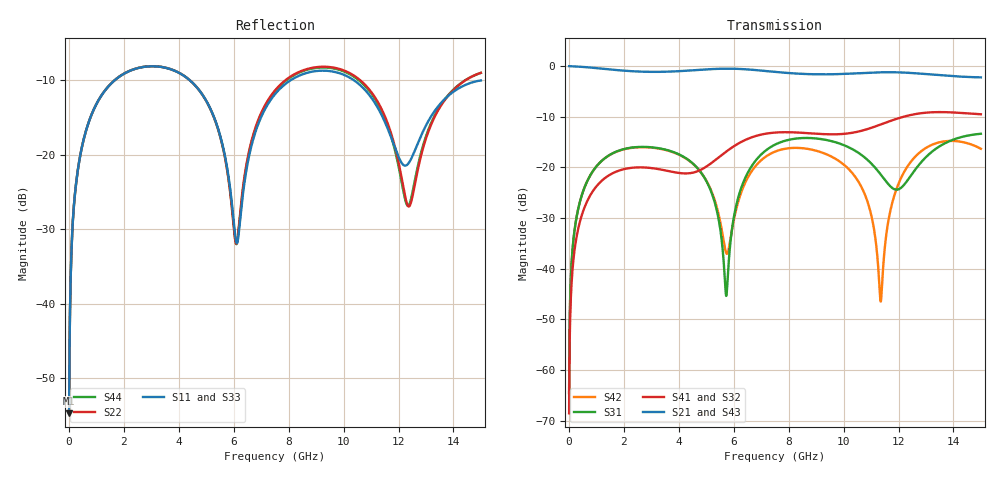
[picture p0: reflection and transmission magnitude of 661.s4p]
! Created with skrf 1.8.0 (http://scikit-rf.org).
# GHz S RI R 50.0
!freq ReS11 ImS11 ReS12 ImS12 ReS13 ImS13
! ReS14 ImS14
! ReS21 ImS21 ReS22 ImS22 ReS23 ImS23
! ReS24 ImS24
! ReS31 ImS31 ReS32 ImS32 ReS33 ImS33
! ReS34 ImS34
! ReS41 ImS41 ReS42 ImS42 ReS43 ImS43
! ReS44 ImS44
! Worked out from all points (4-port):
!   2499 points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, 5 MHz to 15 GHz, reference 50 ohm
!   strongest paths, dB at 5 MHz, 3.476 GHz, 7.19 GHz, 11.1 GHz, 15 GHz:
!     S21: 0.0, -1.1, -1.0, -1.3, -2.2
!     S43: 0.0, -1.1, -1.0, -1.3, -2.2
!     S41: -68.5, -20.6, -13.3, -12.0, -9.5
!     S32: -68.5, -20.6, -13.3, -12.0, -9.5
!     S31: -64.6, -16.4, -16.6, -19.7, -13.4
!     S42: -64.6, -16.5, -17.8, -31.9, -16.3
!   lowest |S11| = -54.7 dB at 5 MHz (marker M1), VSWR 1.00, Z = 50.1 + j0.112 ohm
!   |S11| at or under -10 dB: start of sweep to 1.667 GHz; 4.396 GHz to 8.074 GHz (3.677 GHz wide, 59 % of centre); 10.37 GHz to end of sweep
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0.005  0.00147 0.00112  0.9985 -0.00286  7.35e-05 0.000587  -7.13e-05 -0.000367
       0.9985 -0.00286  0.00147 0.00112  -7.13e-05 -0.000367  7.34e-05 0.000587
       7.35e-05 0.000587  -7.13e-05 -0.000367  0.00147 0.00112  0.9985 -0.00286
       -7.13e-05 -0.000367  7.34e-05 0.000587  0.9985 -0.00286  0.00147 0.00112
0.3126303  0.02 0.0741  0.9728 -0.1787  0.00913 0.0352  -0.00755 -0.0219
           0.9728 -0.1787  0.02 0.0741  -0.00755 -0.0219  0.009 0.0353
           0.00913 0.0352  -0.00755 -0.0219  0.02 0.0741  0.9728 -0.1787
           -0.00755 -0.0219  0.009 0.0353  0.9728 -0.1787  0.02 0.0741
1.569404  0.2398 0.1879  0.6115 -0.6907  0.1185 0.0688  -0.0855 -0.0162
          0.6115 -0.6907  0.2405 0.1874  -0.0854 -0.0162  0.1167 0.0708
          0.1185 0.0688  -0.0854 -0.0162  0.2399 0.1879  0.6115 -0.6907
          -0.0855 -0.0162  0.1167 0.0708  0.6115 -0.6907  0.2405 0.1875
5.727386  0.0409 -0.0784  -0.9069 -0.2592  0.00538 -0.000237  -0.0343 0.1392
          -0.9069 -0.2592  0.0392 -0.076  -0.0356 0.1389  -0.0137 -0.00404
          0.00538 -0.000237  -0.0356 0.1389  0.0415 -0.0797  -0.9066 -0.2597
          -0.0343 0.1392  -0.0137 -0.00404  -0.9066 -0.2597  0.0395 -0.0774
9.522718  0.3626 -0.0254  0.0221 0.8302  0.1234 -0.1348  0.2019 -0.0651
          0.0221 0.8302  0.3831 -0.055  0.2016 -0.0616  0.1211 -0.0453
          0.1234 -0.1348  0.2016 -0.0616  0.3588 -0.0274  0.0226 0.832
          0.2019 -0.0651  0.1211 -0.0453  0.0226 0.832  0.3783 -0.0533
11.34848  0.1473 -0.1208  0.6955 0.5203  -0.0588 -0.0619  0.1502 -0.2185
          0.6955 0.5203  0.129 -0.164  0.1544 -0.2151  -0.00433 -0.00194
          -0.0588 -0.0619  0.1544 -0.2151  0.1412 -0.1178  0.698 0.519
          0.1502 -0.2185  -0.00433 -0.00194  0.698 0.519  0.1263 -0.1581
15  0.3117 0.0459  0.2826 -0.7207  0.1688 -0.1331  -0.3294 -0.0591
    0.2826 -0.7207  0.3471 0.0717  -0.3269 -0.0663  0.1501 -0.0286
    0.1688 -0.1331  -0.3269 -0.0663  0.3135 0.0454  0.2812 -0.721
    -0.3294 -0.0591  0.1501 -0.0286  0.2812 -0.721  0.3466 0.0712
